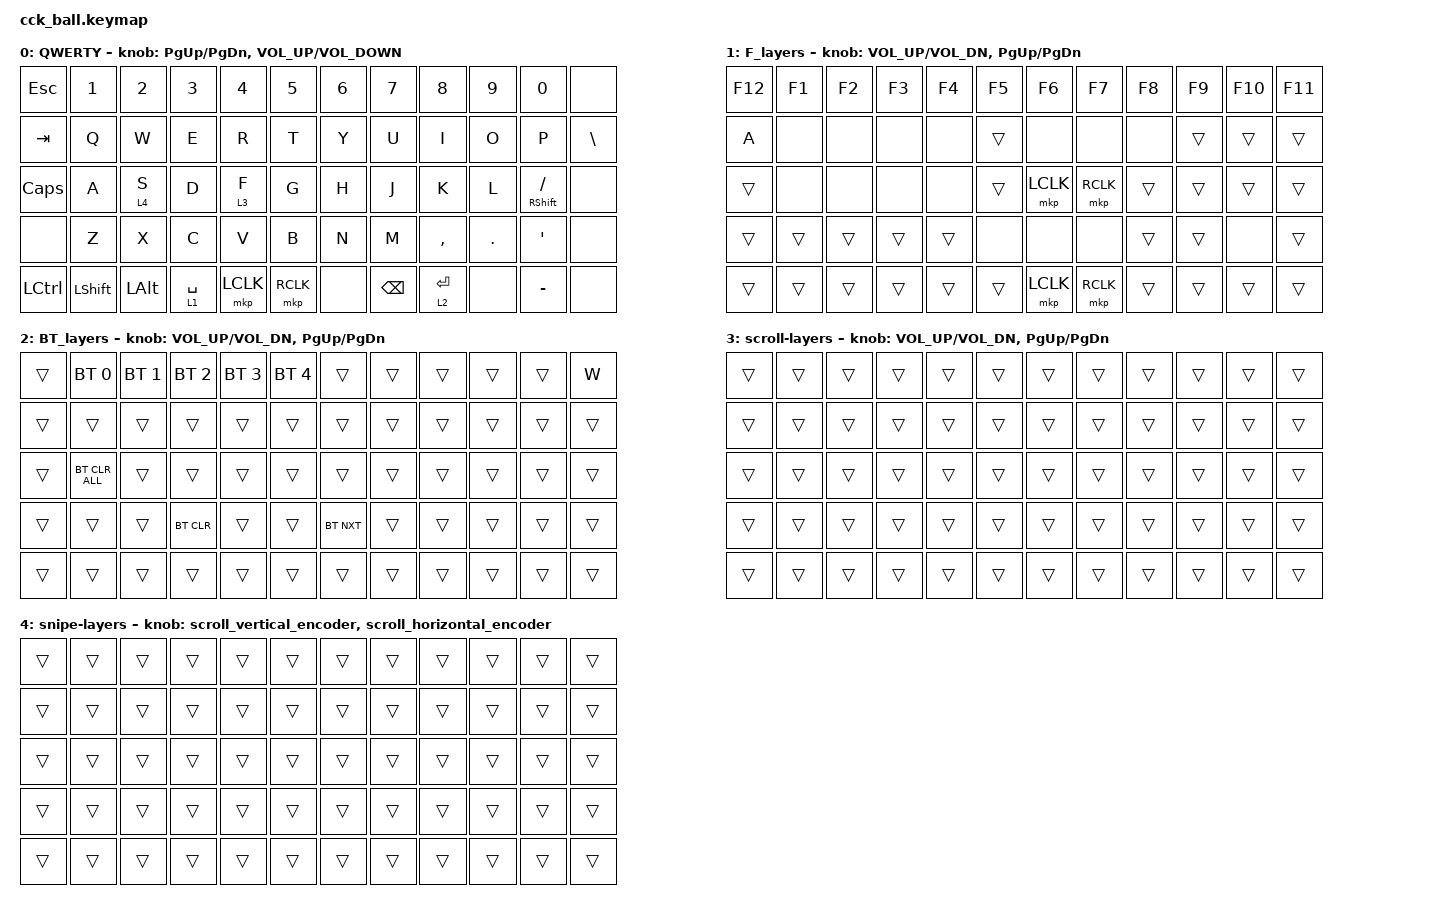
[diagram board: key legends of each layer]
#define ZMK_POINTING_DEFAULT_MOVE_VAL 1000 // 600
#define ZMK_POINTING_DEFAULT_SCRL_VAL 12   // 10

#include <input/processors.dtsi>
#include <zephyr/dt-bindings/input/input-event-codes.h>
#include <behaviors.dtsi>
#include <dt-bindings/zmk/bt.h>
#include <dt-bindings/zmk/keys.h>
#include <dt-bindings/zmk/pointing.h>

&mmv_input_listener { input-processors = <&zip_xy_scaler 2 1>; };

&msc_input_listener { input-processors = <&zip_scroll_scaler 2 1>; };

&msc {
    acceleration-exponent = <0>;      // 0
    time-to-max-speed-ms = <300>;       // 300
    delay-ms = <0>;                   // 0
};

&mmv {
    time-to-max-speed-ms = <500>;
    acceleration-exponent = <1>;
    trigger-period-ms = <16>;
};

&soft_off { hold-time-ms = <2000>; };

/ {
    // 上下滚动编码器行为

    scroll_vertical_encoder: scroll_vertical_encoder {
        compatible = "zmk,behavior-sensor-rotate";
        #sensor-binding-cells = <0>;
        bindings = <&msc SCRL_DOWN>, <&msc SCRL_UP>;

        tap-ms = <100>;
    };

    // 左右滚动编码器行为

    scroll_horizontal_encoder: scroll_horizontal_encoder {
        compatible = "zmk,behavior-sensor-rotate";
        #sensor-binding-cells = <0>;
        bindings = <&msc SCRL_LEFT>, <&msc SCRL_RIGHT>;

        tap-ms = <100>;
    };

    behaviors {
    };

    keymap {
        compatible = "zmk,keymap";

        QWERTY {
            bindings = <
&kp ESC           &kp N1          &kp N2        &kp N3       &kp N4     &kp N5     &kp N6  &kp N7         &kp N8        &kp N9   &kp N0                 &none
&kp TAB           &kp Q           &kp W         &kp E        &kp R      &kp T      &kp Y   &kp U          &kp I         &kp O    &kp P                  &kp BSLH
&kp CAPSLOCK      &kp A           &lt 4 S       &kp D        &lt 3 F    &kp G      &kp H   &kp J          &kp K         &kp L    &mt RIGHT_SHIFT SLASH  &none
&none             &kp Z           &kp X         &kp C        &kp V      &kp B      &kp N   &kp M          &kp COMMA     &kp DOT  &kp APOS               &none
&kp LEFT_CONTROL  &kp LEFT_SHIFT  &kp LEFT_ALT  &lt 1 SPACE  &mkp LCLK  &mkp RCLK  &none   &kp BACKSPACE  &lt 2 RETURN  &none    &kp MINUS              &none
            >;

            sensor-bindings =
                <&inc_dec_kp PAGE_UP PAGE_DOWN>,
                <&inc_dec_kp K_VOLUME_UP K_VOLUME_DOWN>;
        };

        F_layers {
            bindings = <
&kp F12  &kp F1  &kp F2  &kp F3  &kp F4  &kp F5  &kp F6     &kp F7     &kp F8  &kp F9  &kp F10  &kp F11
&kp A    &none   &none   &none   &none   &trans  &none      &none      &none   &trans  &trans   &trans
&trans   &none   &none   &none   &none   &trans  &mkp LCLK  &mkp RCLK  &trans  &trans  &trans   &trans
&trans   &trans  &trans  &trans  &trans  &none   &none      &none      &trans  &trans  &none    &trans
&trans   &trans  &trans  &trans  &trans  &trans  &mkp LCLK  &mkp RCLK  &trans  &trans  &trans   &trans
            >;

            sensor-bindings = <&inc_dec_kp C_VOL_UP C_VOL_DN &inc_dec_kp PG_UP PG_DN>;
        };

        BT_layers {
            bindings = <
&trans  &bt BT_SEL 0    &bt BT_SEL 1  &bt BT_SEL 2  &bt BT_SEL 3  &bt BT_SEL 4  &trans      &trans  &trans  &trans  &trans  &kp W
&trans  &trans          &trans        &trans        &trans        &trans        &trans      &trans  &trans  &trans  &trans  &trans
&trans  &bt BT_CLR_ALL  &trans        &trans        &trans        &trans        &trans      &trans  &trans  &trans  &trans  &trans
&trans  &trans          &trans        &bt BT_CLR    &trans        &trans        &bt BT_NXT  &trans  &trans  &trans  &trans  &trans
&trans  &trans          &trans        &trans        &trans        &trans        &trans      &trans  &trans  &trans  &trans  &trans
            >;

            sensor-bindings = <&inc_dec_kp C_VOL_UP C_VOL_DN &inc_dec_kp PG_UP PG_DN>;
        };

        scroll-layers {
            bindings = <
&trans  &trans  &trans  &trans  &trans  &trans  &trans  &trans  &trans  &trans  &trans  &trans
&trans  &trans  &trans  &trans  &trans  &trans  &trans  &trans  &trans  &trans  &trans  &trans
&trans  &trans  &trans  &trans  &trans  &trans  &trans  &trans  &trans  &trans  &trans  &trans
&trans  &trans  &trans  &trans  &trans  &trans  &trans  &trans  &trans  &trans  &trans  &trans
&trans  &trans  &trans  &trans  &trans  &trans  &trans  &trans  &trans  &trans  &trans  &trans
            >;

            sensor-bindings = <&inc_dec_kp C_VOL_UP C_VOL_DN &inc_dec_kp PG_UP PG_DN>;
        };

        snipe-layers {
            bindings = <
&trans  &trans  &trans  &trans  &trans  &trans  &trans  &trans  &trans  &trans  &trans  &trans
&trans  &trans  &trans  &trans  &trans  &trans  &trans  &trans  &trans  &trans  &trans  &trans
&trans  &trans  &trans  &trans  &trans  &trans  &trans  &trans  &trans  &trans  &trans  &trans
&trans  &trans  &trans  &trans  &trans  &trans  &trans  &trans  &trans  &trans  &trans  &trans
&trans  &trans  &trans  &trans  &trans  &trans  &trans  &trans  &trans  &trans  &trans  &trans
            >;

            sensor-bindings =
                <&scroll_vertical_encoder>,
                // 编码器1：上下滚动,
                <&scroll_horizontal_encoder>;
  // 编码器2：左右滚动
        };
    };
};
